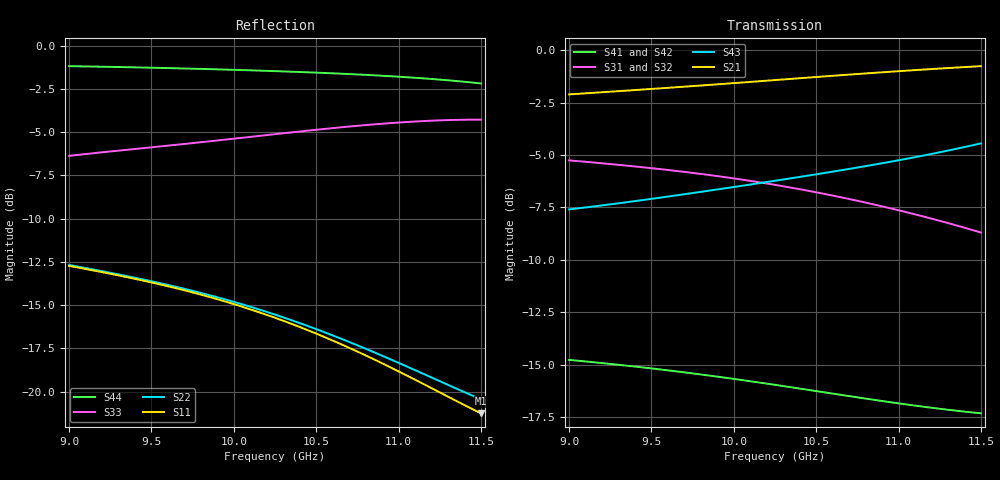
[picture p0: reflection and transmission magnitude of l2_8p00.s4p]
! Touchstone file exported from HFSS 2025.2.4
!  File:  C:/Users/chaoy/Documents/single_magictee_v1_l2_800/single_magictee_v1.aedt
!  Generated:  08:56:07 AM Sep 19, 2026
!  Design:  SingleMagicT_v1
!  Project:  single_magictee_v1
! Variables:
!  f_adapt = 10.2GHz
!  ridge_g1 = 7.672mm
!  ridge_g2 = 4.984mm
!  ridge_l1 = 9.872mm
!  ridge_l2 = 8mm
!  ridge_w = 4.572mm
!  wg_a = 22.86mm
!  wg_b = 10.16mm
!Data is not renormalized
# GHz S MA
! Terminal data exported
! Port[1] = P1_CollinearMinusX
! Port[2] = P2_CollinearPlusX
! Port[3] = P3_HArm_Ridged
! Port[4] = P4_EArm
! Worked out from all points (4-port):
!   101 points, 9 GHz to 11.5 GHz, reference per port
!   strongest paths, dB at 9 GHz, 9.625 GHz, 10.25 GHz, 10.88 GHz, 11.5 GHz:
!     S21: -2.1, -1.8, -1.4, -1.1, -0.8
!     S43: -7.6, -7.0, -6.2, -5.4, -4.4
!     S31: -5.3, -5.7, -6.4, -7.4, -8.7
!     S32: -5.3, -5.7, -6.4, -7.4, -8.8
!     S41: -14.8, -15.3, -16.0, -16.7, -17.3
!     S42: -14.8, -15.3, -16.0, -16.7, -17.3
!   lowest |S11| = -21.2 dB at 11.5 GHz (marker M1), VSWR 1.19
!   |S11| at or under -10 dB: start of sweep to end of sweep
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9  0.231 -13.2  0.7844 -168.6  0.546 117.0  0.1824 71.7
   0.7844 -168.6  0.2324 -12.8  0.5455 117.1  0.1819 71.9
   0.546 117.0  0.5455 117.1  0.48 -136.4  0.417 129.6
   0.1824 71.7  0.1819 71.9  0.417 129.6  0.8716 -120.1
9.55  0.2043 -78.8  0.8108 126.8  0.5205 50.6  0.1732 -0.3
      0.8108 126.8  0.206 -78.4  0.5199 50.7  0.1729 -0.2
      0.5205 50.6  0.5199 50.7  0.511 155.1  0.4447 64.3
      0.1732 -0.3  0.1729 -0.2  0.4447 64.3  0.8616 171.1
9.875  0.1865 -115.9  0.8277 90.1  0.5023 12.1  0.1669 -42.0
       0.8277 90.1  0.1889 -115.4  0.5014 12.2  0.1667 -41.9
       0.5023 12.1  0.5014 12.2  0.5303 114.5  0.4638 26.5
       0.1669 -42.0  0.1667 -41.9  0.4638 26.5  0.854 132.2
10.2  0.1668 -152.0  0.8458 54.2  0.4808 -26.0  0.1601 -83.1
      0.8458 54.2  0.1701 -151.3  0.4797 -25.9  0.16 -83.1
      0.4808 -26.0  0.4797 -25.9  0.5512 74.1  0.4847 -10.9
      0.1601 -83.1  0.16 -83.1  0.4847 -10.9  0.8449 94.2
10.55  0.1439 170.2  0.8659 16.1  0.454 -66.4  0.1526 -126.9
       0.8659 16.1  0.1486 171.2  0.4525 -66.3  0.1527 -126.9
       0.454 -66.4  0.4525 -66.3  0.5741 31.1  0.5093 -50.8
       0.1526 -126.9  0.1527 -126.9  0.5093 -50.8  0.833 54.1
10.875  0.1225 136.0  0.8843 -18.9  0.4263 -103.5  0.146 -167.2
        0.8843 -18.9  0.1286 137.5  0.4244 -103.5  0.1462 -167.2
        0.4263 -103.5  0.4244 -103.5  0.5931 -8.3  0.5352 -87.7
        0.146 -167.2  0.1462 -167.2  0.5352 -87.7  0.8191 17.2
11.5  0.08665 69.4  0.916 -85.7  0.3673 -174.0  0.136 115.3
      0.916 -85.7  0.09516 72.0  0.3648 -173.9  0.1369 115.4
      0.3673 -174.0  0.3648 -173.9  0.6106 -83.4  0.5993 -158.8
      0.136 115.3  0.1369 115.4  0.5993 -158.8  0.7769 -53.1
